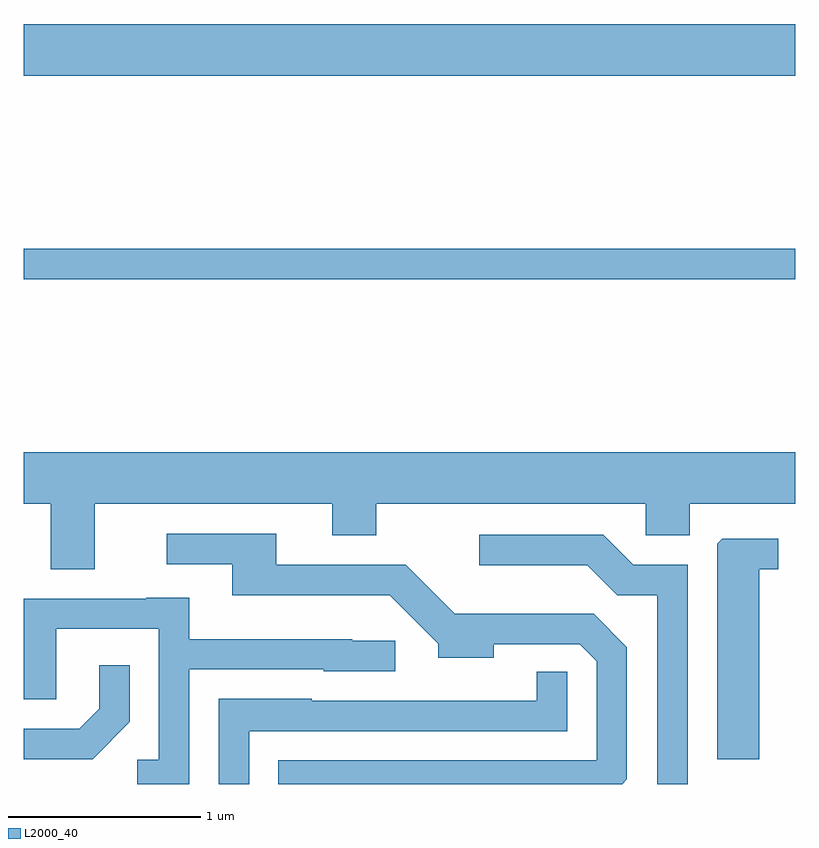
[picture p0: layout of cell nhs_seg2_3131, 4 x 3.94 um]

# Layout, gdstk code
import gdstk
lib = gdstk.Library(unit=1e-6, precision=1e-09)
def R(c, l, rs):  # rectangles x0, y0, x1, y1
    for r in rs: c.add(gdstk.rectangle(r[:2], r[2:], *l))
def P(c, l, *ps):  # polygons
    for p in ps: c.add(gdstk.Polygon(p, *l))
L2000_40 = (2000, 40)

nhs_seg2_3131 = lib.new_cell('nhs_seg2_3131')
R(nhs_seg2_3131, L2000_40, [(277.611,998.421,281.611,998.579), (277.611,999.476,281.611,999.744)])
P(nhs_seg2_3131, L2000_40, [(277.979,997.256),(279.211,997.256),(279.211,997.091),(279.439,997.091),(279.439,997.256),(280.836,997.256),(280.836,997.091),(281.064,997.091),(281.064,997.256),(281.611,997.256),(281.611,997.524),(277.611,997.524),(277.611,997.256),(277.751,997.256),(277.751,996.916),(277.979,996.916)],
  [(280.739,995.827),(280.739,996.512),(280.567,996.684),(279.847,996.684),(279.592,996.939),(278.919,996.939),(278.919,997.099),(278.353,997.099),(278.353,996.941),(278.691,996.941),(278.691,996.781),(279.509,996.781),(279.761,996.529),(279.761,996.456),(280.049,996.456),(280.049,996.526),(280.494,996.526),(280.581,996.439),(280.581,995.924),(278.931,995.924),(278.931,995.802),(280.714,995.802)],
  [(281.054,996.939),(280.772,996.939),(280.617,997.094),(279.973,997.094),(279.973,996.936),(280.534,996.936),(280.689,996.781),(280.896,996.781),(280.896,995.802),(281.054,995.802)],
  [(281.424,996.916),(281.523,996.916),(281.523,997.074),(281.232,997.074),(281.206,997.049),(281.206,995.931),(281.424,995.931)],
  [(278.469,996.396),(279.165,996.396),(279.165,996.386),(279.538,996.386),(279.538,996.544),(279.315,996.544),(279.315,996.554),(278.469,996.554),(278.469,996.769),(278.245,996.769),(278.245,996.764),(277.611,996.764),(277.611,996.241),(277.779,996.241),(277.779,996.606),(278.311,996.606),(278.311,995.929),(278.198,995.929),(278.198,995.802),(278.469,995.802)],
  [(278.159,996.124),(278.159,996.418),(278.001,996.418),(278.001,996.192),(277.899,996.089),(277.611,996.089),(277.611,995.931),(277.967,995.931)],
  [(278.779,996.076),(280.429,996.076),(280.429,996.383),(280.271,996.383),(280.271,996.234),(279.105,996.234),(279.105,996.244),(278.621,996.244),(278.621,995.802),(278.779,995.802)])

lib.write_gds('nhs_seg2_3131.gds')
